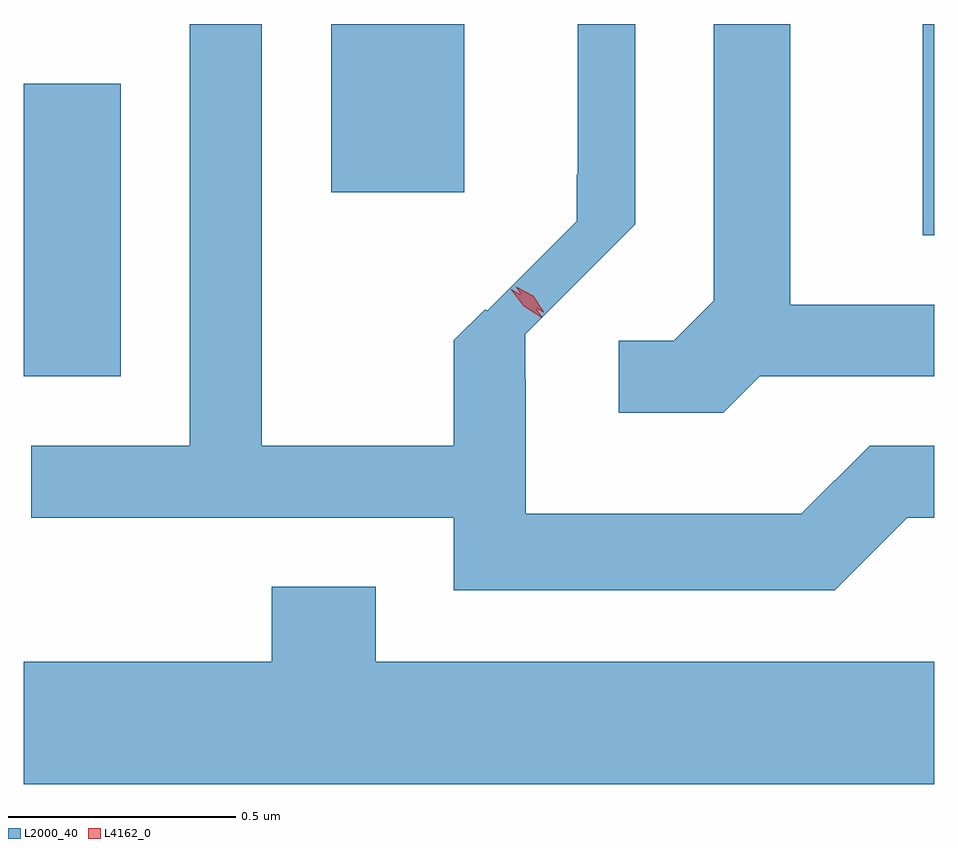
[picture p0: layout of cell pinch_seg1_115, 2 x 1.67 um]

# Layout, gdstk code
import gdstk
lib = gdstk.Library(unit=1e-6, precision=1e-09)
def R(c, l, rs):  # rectangles x0, y0, x1, y1
    for r in rs: c.add(gdstk.rectangle(r[:2], r[2:], *l))
def P(c, l, *ps):  # polygons
    for p in ps: c.add(gdstk.Polygon(p, *l))
L2000_40 = (2000, 40)
L4162_0 = (4162, 0)

pinch_seg1_115 = lib.new_cell('pinch_seg1_115')
R(pinch_seg1_115, L2000_40, [(224.546,893.811,224.759,894.454), (226.521,894.121,226.546,894.585), (225.221,894.216,225.514,894.585)])
P(pinch_seg1_115, L2000_40, [(226.487,893.501),(226.546,893.501),(226.546,893.659),(226.404,893.659),(226.254,893.509),(225.649,893.509),(225.649,893.805),(225.648,893.805),(225.648,893.904),(225.889,894.145),(225.889,894.585),(225.763,894.585),(225.763,894.254),(225.761,894.254),(225.761,894.152),(225.564,893.955),(225.56,893.959),(225.491,893.89),(225.491,893.659),(225.069,893.659),(225.069,894.585),(224.911,894.585),(224.911,893.659),(224.563,893.659),(224.563,893.501),(225.491,893.501),(225.491,893.341),(226.327,893.341)],
  [(226.162,893.811),(226.546,893.811),(226.546,893.969),(226.229,893.969),(226.229,894.585),(226.061,894.585),(226.061,893.977),(225.974,893.889),(225.853,893.889),(225.853,893.731),(226.082,893.731)],
  [(226.546,893.184),(225.319,893.184),(225.319,893.349),(225.091,893.349),(225.091,893.184),(224.546,893.184),(224.546,892.916),(226.546,892.916)])
P(pinch_seg1_115, L4162_0, [(225.687,893.952),(225.651,893.973),(225.628,894.007),(225.628,894.008),(225.628,894.008),(225.665,893.988),(225.688,893.953),(225.688,893.952)],
  [(225.684,893.94),(225.644,893.965),(225.616,894.003),(225.616,894.003),(225.617,894.003),(225.657,893.979),(225.685,893.941),(225.685,893.94)])

lib.write_gds('pinch_seg1_115.gds')
